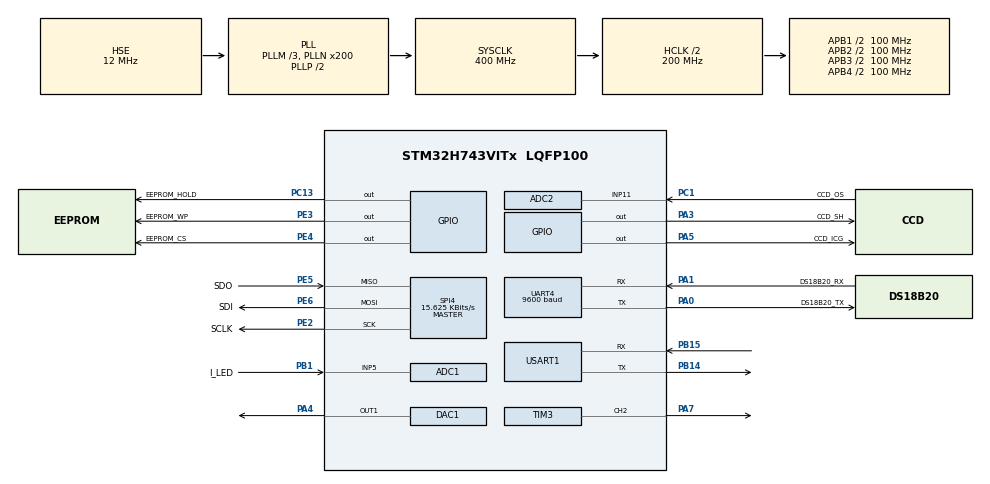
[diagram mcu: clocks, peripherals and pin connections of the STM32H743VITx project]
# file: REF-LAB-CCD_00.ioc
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Mcu.Family=STM32H7
Dma.ADC2.0.SyncRequestNumber=1
VP_TIM5_VS_ClockSourceINT.Mode=Internal
ADC2.ExternalTrigConv=ADC_EXTERNALTRIG_T1_TRGO
Bdma.MEMTOMEM.0.RequestNumber=1
Bdma.Request0=MEMTOMEM
RCC.CortexFreq_Value=400000000
Dma.ADC2.0.SyncEnable=DISABLE
SPI4.VirtualType=VM_MASTER
Dma.ADC2.0.RequestNumber=1
RCC.HPRE=RCC_HCLK_DIV2
PH0-OSC_IN\ (PH0).Signal=RCC_OSC_IN
SPI4.Direction=SPI_DIRECTION_2LINES
PA0.GPIO_Label=DS18B20_TX
PE2.GPIO_Speed=GPIO_SPEED_FREQ_VERY_HIGH
SH.ADCx_INP5.0=ADC1_INP5,IN5-Single-Ended
PC13.GPIO_Label=EEPROM_HOLD
PA3.GPIO_Speed=GPIO_SPEED_FREQ_VERY_HIGH
PB15.Signal=USART1_RX
PA5.PinState=GPIO_PIN_SET
PE6.GPIO_Label=SDI
RCC.SYSCLKSource=RCC_SYSCLKSOURCE_PLLCLK
ProjectManager.StackSize=0x2000
VP_TIM2_VS_ClockSourceITR.Mode=TriggerSource_ITR2
NVIC.ADC_IRQn=true\:4\:0\:true\:false\:true\:true\:true
PA14\ (JTCK/SWCLK).Signal=SYS_JTCK-SWCLK
SPI4.Mode=SPI_MODE_MASTER
NVIC.TIM5_IRQn=true\:1\:0\:true\:false\:true\:true\:true
PA1.GPIO_ModeDefaultPP=GPIO_MODE_AF_OD
UART4.BaudRate=9600
RCC.HCLKFreq_Value=200000000
PE2.Mode=Full_Duplex_Master
Dma.ADC2.0.Direction=DMA_PERIPH_TO_MEMORY
TIM3.Period=99
Dma.ADC2.0.MemInc=DMA_MINC_ENABLE
PE5.Signal=SPI4_MISO
PA1.GPIO_PuPd=GPIO_PULLUP
Bdma.MEMTOMEM.0.SyncPolarity=HAL_DMAMUX_SYNC_NO_EVENT
PE3.PinState=GPIO_PIN_RESET
Dma.ADC2.0.Priority=DMA_PRIORITY_LOW
ADC1.Channel-0\#ChannelRegularConversion=ADC_CHANNEL_5
PH1-OSC_OUT\ (PH1).Mode=HSE-External-Oscillator
RCC.HSE_VALUE=12000000
RCC.DIVM3=3
RCC.DIVM2=3
TIM3.OCFastMode_PWM-PWM\ Generation2\ CH2=TIM_OCFAST_DISABLE
RCC.DIVM1=3
Bdma.MEMTOMEM.0.SyncEnable=DISABLE
PE4.GPIO_Speed=GPIO_SPEED_FREQ_VERY_HIGH
PB14.Mode=Asynchronous
Bdma.MEMTOMEM.0.SyncRequestNumber=1
TIM3.Prescaler=0
PB1.GPIO_Label=I_LED
NVIC.TIM2_IRQn=true\:1\:0\:true\:false\:true\:true\:true
PA0.Mode=Asynchronous
PE4.GPIO_Label=EEPROM_CS
PE2.Signal=SPI4_SCK
PA14\ (JTCK/SWCLK).Mode=Serial_Wire
ADC2.ConversionDataManagement=ADC_CONVERSIONDATA_DMA_ONESHOT
PE4.Signal=GPIO_Output
RCC.CKPERSourceSelection=RCC_CLKPSOURCE_HSE
SPI4.BaudRatePrescaler=SPI_BAUDRATEPRESCALER_256
VP_TIM1_VS_ClockSourceINT.Mode=Internal
ADC1.SamplingTime-0\#ChannelRegularConversion=ADC_SAMPLETIME_387CYCLES_5
PA0.Signal=UART4_TX
Dma.ADC2.0.Polarity=HAL_DMAMUX_REQ_GEN_RISING
RCC.APB3Freq_Value=100000000
Bdma.MEMTOMEM.0.Polarity=HAL_DMAMUX_REQ_GEN_RISING
Mcu.Package=LQFP100
TIM2.Prescaler=99
PB1.Signal=ADCx_INP5
RCC.D1PPRE=RCC_APB3_DIV2
Dma.ADC2.0.EventEnable=DISABLE
Dma.ADC2.0.Mode=DMA_CIRCULAR
TIM2.TIM_MasterOutputTrigger=TIM_TRGO_RESET
Dma.ADC2.0.PeriphDataAlignment=DMA_PDATAALIGN_HALFWORD
ADC2.NbrOfConversion=1
RCC.APB4Freq_Value=100000000
TIM3.Pulse-PWM\ Generation2\ CH2=49
NVIC.DMA1_Stream0_IRQn=true\:3\:0\:true\:false\:true\:false\:true
TIM1.Period=399
NVIC.USART1_IRQn=true\:1\:0\:true\:false\:true\:true\:true
Dma.Request0=ADC2
PE6.GPIO_Speed=GPIO_SPEED_FREQ_VERY_HIGH
PH0-OSC_IN\ (PH0).Mode=HSE-External-Oscillator
PE2.GPIO_Label=SCLK
VP_TIM3_VS_ClockSourceINT.Mode=Internal
PC13.PinState=GPIO_PIN_SET
ADC2.Channel-3\#ChannelRegularConversion=ADC_CHANNEL_11
PA3.Signal=GPIO_Output
NVIC.UART4_IRQn=true\:2\:0\:true\:false\:true\:true\:true
ADC2.ClockPrescaler=ADC_CLOCK_ASYNC_DIV12
RCC.PLLSourceVirtual=RCC_PLLSOURCE_HSE
ADC1.Rank-0\#ChannelRegularConversion=1
PA13\ (JTMS/SWDIO).Mode=Serial_Wire
SPI4.DataSize=SPI_DATASIZE_8BIT
Bdma.MEMTOMEM.0.MemDataAlignment=DMA_MDATAALIGN_BYTE
ADC1.OffsetNumber-0\#ChannelRegularConversion=ADC_OFFSET_NONE
ADC2.Rank-3\#ChannelRegularConversion=1
PC13.Signal=GPIO_Output
Bdma.MEMTOMEM.0.Direction=DMA_MEMORY_TO_MEMORY
RCC.D2PPRE2=RCC_APB2_DIV2
RCC.D2PPRE1=RCC_APB1_DIV2
PH1-OSC_OUT\ (PH1).Signal=RCC_OSC_OUT
Bdma.MEMTOMEM.0.MemInc=DMA_MINC_ENABLE
Dma.ADC2.0.SyncPolarity=HAL_DMAMUX_SYNC_NO_EVENT
PA0.GPIO_Speed=GPIO_SPEED_FREQ_VERY_HIGH
USART1.VirtualMode-Asynchronous=VM_ASYNC
ADC2.OffsetNumber-3\#ChannelRegularConversion=ADC_OFFSET_NONE
ADC2.ContinuousConvMode=DISABLE
ProjectManager.TargetToolchain=STM32CubeIDE
PB14.GPIO_Speed=GPIO_SPEED_FREQ_VERY_HIGH
SH.COMP_DAC11_group.0=DAC1_OUT1,DAC_OUT1
Bdma.RequestsNb=1
Dma.ADC2.0.MemDataAlignment=DMA_MDATAALIGN_HALFWORD
RCC.DIVN3=200
RCC.DIVN2=200
RCC.DIVN1=200
RCC.USBFreq_Value=400000000
PA1.Signal=UART4_RX
PB14.Signal=USART1_TX
PA5.Signal=GPIO_Output
SH.S_TIM3_CH2.0=TIM3_CH2,PWM Generation2 CH2
board=custom
PB15.Mode=Asynchronous
Dma.ADC2.0.PeriphInc=DMA_PINC_DISABLE
TIM1.TIM_MasterOutputTrigger=TIM_TRGO_UPDATE
RCC.APB2Freq_Value=100000000
PA1.Mode=Asynchronous
PE6.Mode=Full_Duplex_Master
Bdma.MEMTOMEM.0.Instance=BDMA_Channel0
VP_TIM2_VS_ClockSourceINT.Mode=Internal
PA1.GPIO_Speed=GPIO_SPEED_FREQ_VERY_HIGH
PB15.GPIO_Speed=GPIO_SPEED_FREQ_VERY_HIGH
PA0.GPIO_ModeDefaultPP=GPIO_MODE_AF_OD
PE5.Mode=Full_Duplex_Master
RCC.ADCFreq_Value=400000000
PC1.GPIO_Label=CCD_OS
PA1.GPIO_Label=DS18B20_RX
SPI4.CalculateBaudRate=15.625 KBits/s
ADC2.SamplingTime-3\#ChannelRegularConversion=ADC_SAMPLETIME_8CYCLES_5
DAC1.DAC_Trigger-DAC_OUT1=DAC_TRIGGER_SOFTWARE
TIM2.Period=14799
PE6.Signal=SPI4_MOSI
Bdma.MEMTOMEM.0.PeriphDataAlignment=DMA_PDATAALIGN_BYTE
Mcu.Name=STM32H743VITx
Bdma.MEMTOMEM.0.Mode=DMA_NORMAL
PA4.Signal=COMP_DAC11_group
RCC.SYSCLKFreq_VALUE=400000000
TIM1.TIM_MasterOutputTrigger2=TIM_TRGO2_RESET
ADC1.master=1
RCC.Spi45ClockSelection=RCC_SPI45CLKSOURCE_CSI
PA5.GPIO_Label=CCD_ICG
ADC2.NbrOfConversionFlag=1
VP_TIM2_VS_ControllerModeTrigger.Mode=Trigger Mode
TIM5.Prescaler=19999
DAC1.DAC_OutputBuffer-DAC_OUT1=DAC_OUTPUTBUFFER_ENABLE
PE3.GPIO_Speed=GPIO_SPEED_FREQ_VERY_HIGH
TIM3.TIM_MasterSlaveMode=TIM_MASTERSLAVEMODE_ENABLE
PE5.GPIO_Label=SDO
Bdma.MEMTOMEM.0.PeriphInc=DMA_PINC_ENABLE
ProjectManager.HeapSize=0x1000
Dma.ADC2.0.FIFOMode=DMA_FIFOMODE_DISABLE
ADC2.ExternalTrigConvEdge=ADC_EXTERNALTRIGCONVEDGE_RISING
PA5.GPIO_Speed=GPIO_SPEED_FREQ_VERY_HIGH
SH.ADCx_INP11.0=ADC2_INP11,IN11-Single-Ended
Bdma.MEMTOMEM.0.EventEnable=DISABLE
NVIC.PriorityGroup=NVIC_PRIORITYGROUP_4
RCC.USART234578CLockSelection=RCC_USART234578CLKSOURCE_CSI
ADC1.NbrOfConversionFlag=1
TIM3.Channel-PWM\ Generation2\ CH2=TIM_CHANNEL_2
TIM2.TIM_MasterSlaveMode=TIM_MASTERSLAVEMODE_DISABLE
PE5.GPIO_Speed=GPIO_SPEED_FREQ_VERY_HIGH
PE3.Signal=GPIO_Output
PE3.GPIO_Label=EEPROM_WP
PE4.PinState=GPIO_PIN_SET
RCC.D3PPRE=RCC_APB4_DIV2
TIM5.Period=49999
TIM3.TIM_MasterOutputTrigger=TIM_TRGO_UPDATE
Bdma.MEMTOMEM.0.Priority=DMA_PRIORITY_LOW
RCC.APB1Freq_Value=100000000
Dma.ADC2.0.Instance=DMA1_Stream0
ADC1.ClockPrescaler=ADC_CLOCK_ASYNC_DIV12
PC1.Signal=ADCx_INP11
TIM1.TIM_MasterSlaveMode=TIM_MASTERSLAVEMODE_DISABLE
PA13\ (JTMS/SWDIO).Signal=SYS_JTMS-SWDIO
PA3.GPIO_Label=CCD_SH
PA7.Signal=S_TIM3_CH2

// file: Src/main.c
/* USER CODE BEGIN Header */
/**
  ******************************************************************************
  * @file           : main.c
  * @brief          : Main program body
  ******************************************************************************
  ** This notice applies to any and all portions of this file
  * that are not between comment pairs USER CODE BEGIN and
  * USER CODE END. Other portions of this file, whether
  * inserted by the user or by software development tools
  * are owned by their respective copyright owners.
  *
  * COPYRIGHT(c) 2021 STMicroelectronics
  *
  * Redistribution and use in source and binary forms, with or without modification,
  * are permitted provided that the following conditions are met:
  *   1. Redistributions of source code must retain the above copyright notice,
  *      this list of conditions and the following disclaimer.
  *   2. Redistributions in binary form must reproduce the above copyright notice,
  *      this list of conditions and the following disclaimer in the documentation
  *      and/or other materials provided with the distribution.
  *   3. Neither the name of STMicroelectronics nor the names of its contributors
  *      may be used to endorse or promote products derived from this software
  *      without specific prior written permission.
  *
  * THIS SOFTWARE IS PROVIDED BY THE COPYRIGHT HOLDERS AND CONTRIBUTORS "AS IS"
  * AND ANY EXPRESS OR IMPLIED WARRANTIES, INCLUDING, BUT NOT LIMITED TO, THE
  * IMPLIED WARRANTIES OF MERCHANTABILITY AND FITNESS FOR A PARTICULAR PURPOSE ARE
  * DISCLAIMED. IN NO EVENT SHALL THE COPYRIGHT HOLDER OR CONTRIBUTORS BE LIABLE
  * FOR ANY DIRECT, INDIRECT, INCIDENTAL, SPECIAL, EXEMPLARY, OR CONSEQUENTIAL
  * DAMAGES (INCLUDING, BUT NOT LIMITED TO, PROCUREMENT OF SUBSTITUTE GOODS OR
  * SERVICES; LOSS OF USE, DATA, OR PROFITS; OR BUSINESS INTERRUPTION) HOWEVER
  * CAUSED AND ON ANY THEORY OF LIABILITY, WHETHER IN CONTRACT, STRICT LIABILITY,
  * OR TORT (INCLUDING NEGLIGENCE OR OTHERWISE) ARISING IN ANY WAY OUT OF THE USE
  * OF THIS SOFTWARE, EVEN IF ADVISED OF THE POSSIBILITY OF SUCH DAMAGE.
  *
  ******************************************************************************
  */
/* USER CODE END Header */

#include "main.h"
#include "adc.h"
#include "bdma.h"
#include "dac.h"
#include "dma.h"
#include "spi.h"
#include "tim.h"
#include "usart.h"
#include "gpio.h"

/* USER CODE BEGIN Includes */
#include "led.h"
#include "ds.h"
#include "eeprom.h"
#include "ccd_math.h"
#include <string.h>
#include "global.h"
/* USER CODE END Includes */

void SystemClock_Config(void);

/* USER CODE BEGIN 0 */

void HAL_TIM_PeriodElapsedCallback(TIM_HandleTypeDef *htim)
{
	//przerwanie do odczytu linii z CCD, ok 7.5ms dla zegara 2MHz
	if(htim->Instance==TIM2)
	{

		ICG_L;
		for(uint16_t i=0; i<5; i++) asm("NOP");
		SH_H;
		for(uint16_t i=0; i<50; i++) asm("NOP");
		SH_L;
		for(uint16_t i=0; i<99; i++) asm("NOP");
		ICG_H;

		if(ccd_read_req)
		{
			ccd_read_req = 0;
			TIM1->CNT=0;
			ccd_pix_num=0;
			ccd_data_ready=0;
			HAL_ADC_Start_DMA(&hadc2, (uint32_t*)ccd, NUM_PIX);
			HAL_TIM_Base_Start(&htim1);
		}
	}
	if(htim->Instance == TIM5){
		static uint8_t tim5_first_flag = 1;
		if(!tim5_first_flag){
			autoled_pend = 1;
		}
		else{
			tim5_first_flag = 0;
		}
	}
}

void HAL_UART_RxCpltCallback(UART_HandleTypeDef *huart)
{
	//jezeli przerwanie z UARTa do komunikacji z plytka komputera
	if(huart->Instance==USART1)
	{
		cal_data_save_pending=1;
	}
}

void saveCalData(void)
{
	eepromWriteInt(EEPROM_BASE_ADDR  +0, cal_data.serial);
	eepromWriteFloat(EEPROM_BASE_ADDR+2, cal_data.f);
	eepromWriteFloat(EEPROM_BASE_ADDR+6, cal_data.D);
	eepromWriteFloat(EEPROM_BASE_ADDR+10, cal_data.temp_corr);
	eepromWriteFloat(EEPROM_BASE_ADDR+14, cal_data.x_corr);
}

void readCalData(void)
{
	cal_data.serial=eepromReadInt(EEPROM_BASE_ADDR  +0);
	cal_data.f=eepromReadFloat(EEPROM_BASE_ADDR+2);
	cal_data.D=eepromReadFloat(EEPROM_BASE_ADDR+6);
	cal_data.temp_corr=eepromReadFloat(EEPROM_BASE_ADDR+10);
	cal_data.x_corr=eepromReadFloat(EEPROM_BASE_ADDR+14);
}
/* USER CODE END 0 */

int main(void)
{

  /* MCU Configuration--------------------------------------------------------*/

  /* Reset of all peripherals, Initializes the Flash interface and the Systick. */
  HAL_Init();

  /* Configure the system clock */
  SystemClock_Config();

  /* Initialize all configured peripherals */
  MX_GPIO_Init();
  MX_BDMA_Init();
  MX_DMA_Init();
  MX_ADC1_Init();
  MX_SPI4_Init();
  MX_DAC1_Init();
  MX_ADC2_Init();
  MX_TIM3_Init();
  MX_TIM2_Init();
  MX_TIM1_Init();
  MX_UART4_Init();
  MX_USART1_UART_Init();
  MX_TIM5_Init();
  /* USER CODE BEGIN 2 */
  SCB->CPACR|=(3<<20)|(3<<22);

  setLedCurrent(0.00);
  for(uint8_t i=0; i<PIX_NUM_AVG; i++)
	  pix_nums[i]=0;
  HAL_Delay(250);

  readCalData();

  HAL_GPIO_WritePin(EEPROM_WP_GPIO_Port, EEPROM_WP_Pin, 1);
  HAL_GPIO_WritePin(EEPROM_HOLD_GPIO_Port, EEPROM_HOLD_Pin, 1);
  DS_Reset();

  HAL_ADCEx_Calibration_Start(&hadc1, ADC_CALIB_OFFSET_LINEARITY, ADC_SINGLE_ENDED);
  HAL_ADCEx_Calibration_Start(&hadc2, ADC_CALIB_OFFSET_LINEARITY, ADC_SINGLE_ENDED);

  HAL_TIM_PWM_Start(&htim3, TIM_CHANNEL_2);
  HAL_TIM_Base_Start_IT(&htim2);

  HAL_Delay(1000);
  HAL_UART_Receive_IT(&huart1, uart_in, 21);

  //autoLed();
  setLedCurrent(0.0019); //bylo 0.0012
  HAL_TIM_Base_Start_IT(&htim5);
  /* USER CODE END 2 */

  /* Infinite loop */
  /* USER CODE BEGIN WHILE */
  while (1)
  {
	  if(autoled_pend!=0){
		  autoLed();
		  autoled_pend = 0;
		  HAL_Delay(50);
	  }

	  //czyszczenie bufora i akwizycja danych
	  for(uint8_t i=0; i<AVG_LINES; i++)  {
		  getCCD();
		  for(uint16_t j=0; j<NUM_PIX; j++){
			  if(i==0)
				  ccd_avg[j]=ccd[j];
			  else
				  ccd_avg[j]+=ccd[j];
		  }
	  }

	  for(uint16_t j=0; j<NUM_PIX; j++)
		  ccd[j] = ccd_avg[j]/AVG_LINES;

	  //dalsza matematyka
	  fir16(ccd, ccd_fir, 5);
	  fir16(ccd_fir, ccd, 7);
	  fir16(ccd, ccd_fir, 9);
	  fir16(ccd_fir, ccd, 11);
	  std_dev(ccd, STD_DEV_LEN);

	  //szukanie wartosci maksymalnej odchylenia standardowego
	  //przy okazji sprawdzenie, dla jakiego numeru piksela wystepuje
	  max_val=0;
	  for(uint16_t i=100; i<3600; i++) {
		  if(ccd[i]>max_val) {
			  max_val=ccd[i];
			  pix_num=i;
		  }
	  }

	  for(uint8_t i=0; i<PIX_NUM_AVG-1; i++) {
		  pix_nums[i]=pix_nums[i+1];
		  temperature[i] = temperature[i+1];
	  }

	  temperature[PIX_NUM_AVG-1] = DS_GetTemp()+cal_data.temp_corr;
	  pix_nums[PIX_NUM_AVG-1]=pix_num;

	  if(meas_num<PIX_NUM_AVG)
		  meas_num++;

	  float pn=0.0;
	  float temp=0.0;
	  for(int16_t i=PIX_NUM_AVG-1; i>PIX_NUM_AVG-1-meas_num; i--){
		  pn+=pix_nums[i];
		  temp+=temperature[i];
	  }

	  meas.num_pix=pn/meas_num;
	  meas.temp = temp/meas_num;

	  if(max_val<800)	//brak probki, bylo 4000
	  {
		  autoled_pend = 2;
		  meas_num=0;
		  for(uint8_t i=0; i<PIX_NUM_AVG-1; i++)
			  pix_nums[i]=0;
		  meas.nc=-1.0;
		  HAL_UART_AbortReceive_IT(&huart1);
		  HAL_UART_Receive_IT(&huart1, uart_in, 21);
	  }
	  else
	  {
		  //gdy jest obecna probka
		  //licz wszystko
		  float ns=1.75996+((13.6e-6)*(meas.temp-20.0));// n szafiru
		  float xp=-(REAL_PIX_NUM/2.0-meas.num_pix+cal_data.x_corr)*0.008;
		  xp+=cal_data.D*pow(xp, 3.0);
		  float n_gamma=atan(xp/cal_data.f);
		  float n_beta=asin((sin(n_gamma))/ns);
		  float n_alpha=n_beta+54.0/180.0*M_PI;
		  meas.nc=ns*sin(n_alpha);
		  meas.led_curr=getLedCurrent();

		  //na zadanie p. Piotra - zaokraglamy wynik do 5 miejsc po przecinku
		  meas.nc = ((uint32_t)(meas.nc * 100000 + 0.5) / 100000.0);

		  //obliczaj korekcje
		  float brix=0.0, realbrix=0.0;

		  //szukanie w tabeli n_brix
		  for(uint16_t i=0; i<(9201*2-1); i++)
		  {
			if(meas.nc-n_brix[i]<=0.0)
			{
				brix=-2.00+i*0.005;
				break;
			}
		  }

		  uint8_t x, y;	//pomocnicze zmienne do obliczen

		  realbrix=brix;
		  if(brix<0)
			brix=0.0;

		  x=(uint8_t)brix/5;
		  y=(uint8_t)meas.temp-10;

		  float px=brix-((uint8_t)brix/5)*5; px/=5.0;
		  float py=meas.temp-(uint8_t)meas.temp;

		  float f00=temp_brix[y][x], f11=temp_brix[y+1][x+1], f01=temp_brix[y+1][x], f10=temp_brix[y][x+1];
		  float corr=f00*(1-px)*(1-py) + f10*px*(1-py) + f01*(1-px)*py + f11*px*py;

		  brix=realbrix-corr;
		  meas.brix=realbrix;
		  meas.brixk=brix;

		  meas.nck=n_brix[(uint16_t)(meas.brixk*200.0+400.0)];

		  //wypluj dane przez uart gdy sa gotowe
		  uart_out[0]='!';
		  uart_out[1]='M';
		  memcpy(&uart_out[2], (uint8_t*)&(meas.brix), 4);
		  memcpy(&uart_out[6], (uint8_t*)&(meas.brixk), 4);
		  memcpy(&uart_out[10], (uint8_t*)&(meas.led_curr), 4);
		  memcpy(&uart_out[14], (uint8_t*)&(meas.nc), 4);
		  memcpy(&uart_out[18], (uint8_t*)&(meas.nck), 4);
		  memcpy(&uart_out[22], (uint8_t*)&(meas.temp), 4);
		  memcpy(&uart_out[26], (uint8_t*)&(cal_data.D), 4);
		  memcpy(&uart_out[30], (uint8_t*)&(cal_data.f), 4);
		  memcpy(&uart_out[34], (uint8_t*)&(cal_data.serial), 2);
		  memcpy(&uart_out[36], (uint8_t*)&(cal_data.temp_corr), 4);
		  memcpy(&uart_out[40], (uint8_t*)&(cal_data.x_corr), 4);

		  uint8_t sum=0;

		  for(uint8_t i=0; i<44; i++)
			  sum+=uart_out[i];

		  uart_out[44]=sum;

		  //wylaczone na czas debugowania
		  //sprintf(uart_out, "brixk=%d, num_pix=%d===", (int16_t)(meas.brixk*100.0), (uint16_t)(meas.num_pix*10));
		  HAL_UART_Transmit(&huart1, uart_out, 45, 100);
	  }

	  //jezeli w miedzyczasie wpadly dane kalibracyjne przez uart - przepisz je do struktury i zapisz w eepromie
	  if(cal_data_save_pending)
	  {
		  uint8_t sum=0;

		  for(uint8_t i=0; i<20; i++)
			  sum+=uart_in[i];

		  if(uart_in[0]=='!' && uart_in[1]=='C' && sum==uart_in[20])
		  {
			  memcpy((uint8_t*)&(cal_data.serial), &uart_in[2], 2);
			  memcpy((uint8_t*)&(cal_data.f), &uart_in[4], 4);
			  memcpy((uint8_t*)&(cal_data.D), &uart_in[8], 4);
			  memcpy((uint8_t*)&(cal_data.temp_corr), &uart_in[12], 4);
			  memcpy((uint8_t*)&(cal_data.x_corr), &uart_in[16], 4);
			  memset(uart_in, 0, 25);
			  saveCalData();
		  }

		  cal_data_save_pending=0;
		  HAL_UART_Receive_IT(&huart1, uart_in, 21);
	  }
    /* USER CODE END WHILE */

  }
}

void SystemClock_Config(void)
{
  RCC_OscInitTypeDef RCC_OscInitStruct = {0};
  RCC_ClkInitTypeDef RCC_ClkInitStruct = {0};
  RCC_PeriphCLKInitTypeDef PeriphClkInitStruct = {0};

  /**Supply configuration update enable
  */
  MODIFY_REG(PWR->CR3, PWR_CR3_SCUEN, 0);
  /**Configure the main internal regulator output voltage
  */
  __HAL_PWR_VOLTAGESCALING_CONFIG(PWR_REGULATOR_VOLTAGE_SCALE1);

  while ((PWR->D3CR & (PWR_D3CR_VOSRDY)) != PWR_D3CR_VOSRDY)
  {

  }
  /**Macro to configure the PLL clock source
  */
  __HAL_RCC_PLL_PLLSOURCE_CONFIG(RCC_PLLSOURCE_HSE);
  /**Initializes the CPU, AHB and APB busses clocks
  */
  RCC_OscInitStruct.OscillatorType = RCC_OSCILLATORTYPE_CSI|RCC_OSCILLATORTYPE_HSE;
  RCC_OscInitStruct.HSEState = RCC_HSE_ON;
  RCC_OscInitStruct.CSIState = RCC_CSI_ON;
  RCC_OscInitStruct.CSICalibrationValue = 16;
  RCC_OscInitStruct.PLL.PLLState = RCC_PLL_ON;
  RCC_OscInitStruct.PLL.PLLSource = RCC_PLLSOURCE_HSE;
  RCC_OscInitStruct.PLL.PLLM = 3;
  RCC_OscInitStruct.PLL.PLLN = 200;
  RCC_OscInitStruct.PLL.PLLP = 2;
  RCC_OscInitStruct.PLL.PLLQ = 2;
  RCC_OscInitStruct.PLL.PLLR = 2;
  RCC_OscInitStruct.PLL.PLLRGE = RCC_PLL1VCIRANGE_2;
  RCC_OscInitStruct.PLL.PLLVCOSEL = RCC_PLL1VCOWIDE;
  RCC_OscInitStruct.PLL.PLLFRACN = 0;
  if (HAL_RCC_OscConfig(&RCC_OscInitStruct) != HAL_OK)
  {
    Error_Handler();
  }
  /**Initializes the CPU, AHB and APB busses clocks
  */
  RCC_ClkInitStruct.ClockType = RCC_CLOCKTYPE_HCLK|RCC_CLOCKTYPE_SYSCLK
                              |RCC_CLOCKTYPE_PCLK1|RCC_CLOCKTYPE_PCLK2
                              |RCC_CLOCKTYPE_D3PCLK1|RCC_CLOCKTYPE_D1PCLK1;
  RCC_ClkInitStruct.SYSCLKSource = RCC_SYSCLKSOURCE_PLLCLK;
  RCC_ClkInitStruct.SYSCLKDivider = RCC_SYSCLK_DIV1;
  RCC_ClkInitStruct.AHBCLKDivider = RCC_HCLK_DIV2;
  RCC_ClkInitStruct.APB3CLKDivider = RCC_APB3_DIV2;
  RCC_ClkInitStruct.APB1CLKDivider = RCC_APB1_DIV2;
  RCC_ClkInitStruct.APB2CLKDivider = RCC_APB2_DIV2;
  RCC_ClkInitStruct.APB4CLKDivider = RCC_APB4_DIV2;

  if (HAL_RCC_ClockConfig(&RCC_ClkInitStruct, FLASH_LATENCY_2) != HAL_OK)
  {
    Error_Handler();
  }
  PeriphClkInitStruct.PeriphClockSelection = RCC_PERIPHCLK_UART4|RCC_PERIPHCLK_USART1
                              |RCC_PERIPHCLK_SPI4|RCC_PERIPHCLK_ADC;
  PeriphClkInitStruct.PLL2.PLL2M = 3;
  PeriphClkInitStruct.PLL2.PLL2N = 200;
  PeriphClkInitStruct.PLL2.PLL2P = 2;
  PeriphClkInitStruct.PLL2.PLL2Q = 2;
  PeriphClkInitStruct.PLL2.PLL2R = 2;
  PeriphClkInitStruct.PLL2.PLL2RGE = RCC_PLL2VCIRANGE_2;
  PeriphClkInitStruct.PLL2.PLL2VCOSEL = RCC_PLL2VCOWIDE;
  PeriphClkInitStruct.PLL2.PLL2FRACN = 0;
  PeriphClkInitStruct.Spi45ClockSelection = RCC_SPI45CLKSOURCE_CSI;
  PeriphClkInitStruct.Usart234578ClockSelection = RCC_USART234578CLKSOURCE_CSI;
  PeriphClkInitStruct.Usart16ClockSelection = RCC_USART16CLKSOURCE_D2PCLK2;
  PeriphClkInitStruct.AdcClockSelection = RCC_ADCCLKSOURCE_PLL2;
  if (HAL_RCCEx_PeriphCLKConfig(&PeriphClkInitStruct) != HAL_OK)
  {
    Error_Handler();
  }
}

void Error_Handler(void)
{
}

/************************ (C) COPYRIGHT STMicroelectronics *****END OF FILE****/
